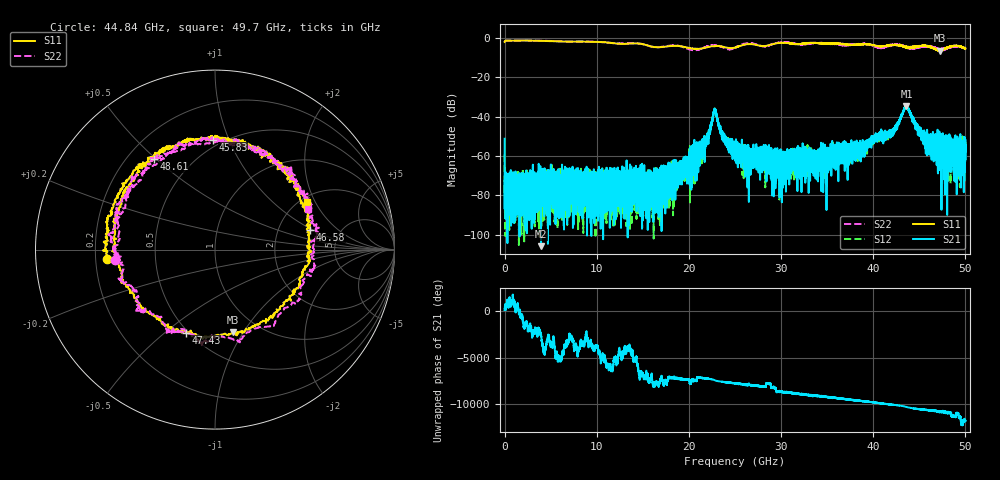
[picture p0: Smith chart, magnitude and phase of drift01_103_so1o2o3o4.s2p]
!Created with skrf (http://scikit-rf.org).
# Hz S RI R 50.0
!freq ReS11 ImS11 ReS21 ImS21 ReS12 ImS12 ReS22 ImS22
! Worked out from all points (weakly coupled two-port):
!   10001 points, 300 kHz to 50 GHz, reference 50 ohm
!   highest |S21| = -34.71 dB at 43.6 GHz (marker M1); lowest = -105.8 dB at 3.955 GHz (marker M2)
!   lowest |S11| = -6.6 dB at 47.21 GHz (marker M3), VSWR 2.78, Z = 38 - j44.9 ohm
!   |S11| at or under -10 dB: nowhere
!   |S22| runs from -6.5 to -1.4 dB; largest |S21 - S12| = 0.0044
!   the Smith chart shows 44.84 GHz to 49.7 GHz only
!   S11 on the Smith chart (normalised r, x): 44.84 GHz: 0.25, -0.04; 45.83 GHz: 0.45, +0.88; 46.58 GHz: 3.03, +0.96; 47.43 GHz: 0.48, -0.59; 48.61 GHz: 0.31, +0.49; 49.7 GHz: 2.16, +1.71
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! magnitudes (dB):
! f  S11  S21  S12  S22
! 300 kHz  -2.1  -51.3  -59.3  -2.1
! 255.3 MHz  -1.4  -72.8  -84.4  -1.4
! 3.955 GHz  -1.6  -105.8  -77.4  -1.5
! 8.335 GHz  -1.9  -75.1  -73.6  -1.8
! 16.67 GHz  -4.8  -76.6  -79.7  -4.8
! 20.92 GHz  -5.6  -58.8  -55.9  -6.1
! 21.75 GHz  -5.0  -52.6  -52.3  -4.8
! 22.81 GHz  -4.3  -36.2  -36.1  -4.0
! 23.68 GHz  -4.6  -50.0  -50.5  -4.9
! 25 GHz  -5.0  -56.4  -56.3  -5.1
! 29.97 GHz  -2.6  -61.8  -59.9  -2.3
! 33.34 GHz  -2.6  -60.9  -64.8  -2.7
! 41.67 GHz  -3.8  -50.2  -49.2  -4.2
! 43.6 GHz  -4.5  -34.7  -34.8  -5.0
! 44.84 GHz  -4.4  -47.1  -46.1  -5.1
! 45.83 GHz  -4.2  -59.7  -50.3  -4.2
! 46.58 GHz  -5.3  -52.8  -54.7  -4.8
! 47.21 GHz  -6.6  -57.8  -57.7  -5.9
! 47.43 GHz  -6.2  -57.3  -54.5  -5.5
! 48.61 GHz  -4.3  -62.9  -59.6  -4.7
! 49.7 GHz  -4.8  -57.7  -51.7  -5.0
! 50 GHz  -5.5  -57.8  -54.2  -5.3
